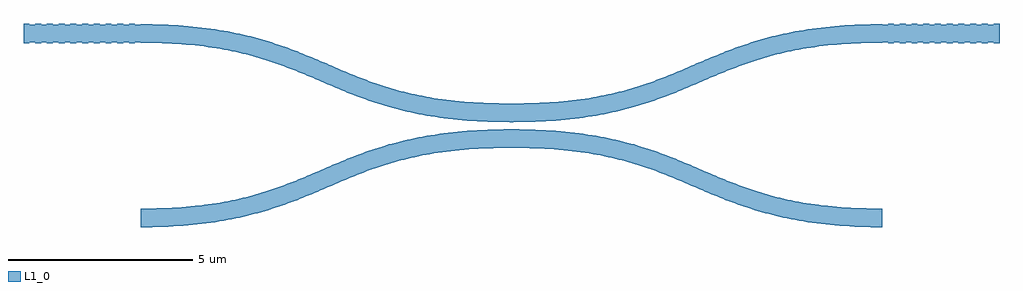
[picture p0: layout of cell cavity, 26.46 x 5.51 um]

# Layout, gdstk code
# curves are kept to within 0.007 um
from math import pi, radians
import gdstk
lib = gdstk.Library(unit=1e-6, precision=1e-09)
def R(c, l, rs):  # rectangles x0, y0, x1, y1
    for r in rs: c.add(gdstk.rectangle(r[:2], r[2:], *l))
def P(c, l, *ps):  # polygons
    for p in ps: c.add(gdstk.Polygon(p, *l))
L1_0 = (1, 0)

coupler_gap200n_length10 = lib.new_cell('coupler_gap200n_length100n')
R(coupler_gap200n_length10, L1_0, [(0,-0.25,0.1,0.25), (0,0.45,0.1,0.95)])
P(coupler_gap200n_length10, L1_0, [(0,-0.25),(-0.85,-0.273),(-1.601,-0.337),(-2.266,-0.437),(-2.86,-0.566),(-3.397,-0.719),(-3.894,-0.891),(-4.365,-1.077),(-5.603,-1.6),(-6.1,-1.789),(-6.728,-1.991),(-7.428,-2.163),(-8.1,-2.279),(-8.72,-2.348),(-9.261,-2.384),(-10,-2.4),(-10,-1.9),(-9.15,-1.877),(-8.399,-1.813),(-7.734,-1.713),(-7.14,-1.584),(-6.603,-1.431),(-6.106,-1.259),(-5.635,-1.073),(-4.397,-0.55),(-3.9,-0.361),(-3.272,-0.159),(-2.572,0.013),(-1.9,0.129),(-1.28,0.198),(-0.739,0.234),(0,0.25)],
  [(0,0.95),(-0.85,0.973),(-1.601,1.037),(-2.266,1.137),(-2.86,1.266),(-3.397,1.419),(-3.894,1.591),(-4.365,1.777),(-5.603,2.3),(-6.1,2.489),(-6.728,2.691),(-7.428,2.863),(-8.1,2.979),(-8.72,3.048),(-9.261,3.084),(-10,3.1),(-10,2.6),(-9.15,2.577),(-8.399,2.513),(-7.734,2.413),(-7.14,2.284),(-6.603,2.131),(-6.106,1.959),(-5.635,1.773),(-4.397,1.25),(-3.9,1.061),(-3.272,0.859),(-2.572,0.687),(-1.9,0.571),(-1.28,0.502),(-0.739,0.466),(0,0.45)],
  [(0.1,0.95),(0.95,0.973),(1.701,1.037),(2.366,1.137),(2.96,1.266),(3.497,1.419),(3.994,1.591),(4.465,1.777),(5.703,2.3),(6.2,2.489),(6.828,2.691),(7.528,2.863),(8.2,2.979),(8.82,3.048),(9.361,3.084),(10.1,3.1),(10.1,2.6),(9.25,2.577),(8.499,2.513),(7.834,2.413),(7.24,2.284),(6.703,2.131),(6.206,1.959),(5.735,1.773),(4.497,1.25),(4,1.061),(3.372,0.859),(2.672,0.687),(2,0.571),(1.38,0.502),(0.839,0.466),(0.1,0.45)],
  [(0.1,-0.25),(0.95,-0.273),(1.701,-0.337),(2.366,-0.437),(2.96,-0.566),(3.497,-0.719),(3.994,-0.891),(4.465,-1.077),(5.703,-1.6),(6.2,-1.789),(6.828,-1.991),(7.528,-2.163),(8.2,-2.279),(8.82,-2.348),(9.361,-2.384),(10.1,-2.4),(10.1,-1.9),(9.25,-1.877),(8.499,-1.813),(7.834,-1.713),(7.24,-1.584),(6.703,-1.431),(6.206,-1.259),(5.735,-1.073),(4.497,-0.55),(4,-0.361),(3.372,-0.159),(2.672,0.013),(2,0.129),(1.38,0.198),(0.839,0.234),(0.1,0.25)])

straight_length159n_widt = lib.new_cell('straight_length159n_width476n')
R(straight_length159n_widt, L1_0, [(0,-0.238,0.159,0.238)])

c_straight_length159n_widt = lib.new_cell('straight_length159n_width524n')
R(c_straight_length159n_widt, L1_0, [(0,-0.262,0.159,0.262)])

dbr_cell_l1159n_l2159n__ = lib.new_cell('dbr_cell_l1159n_l2159n__5183cf08')
dbr_cell_l1159n_l2159n__.add(gdstk.Reference(straight_length159n_widt, (0,0)))
dbr_cell_l1159n_l2159n__.add(gdstk.Reference(c_straight_length159n_widt, (0.159,0)))

dbr = lib.new_cell('dbr')
r = gdstk.Reference(dbr_cell_l1159n_l2159n__, (0,0)); r.repetition = gdstk.Repetition(10, 1, v1=(0.318,0), v2=(0,100)); dbr.add(r)

cavity = lib.new_cell('cavity')
cavity.add(gdstk.Reference(coupler_gap200n_length10, (0,0)))
cavity.add(gdstk.Reference(dbr, (-10,2.85), rotation=pi))
cavity.add(gdstk.Reference(dbr, (10.1,2.85)))

lib.write_gds('cavity.gds')
